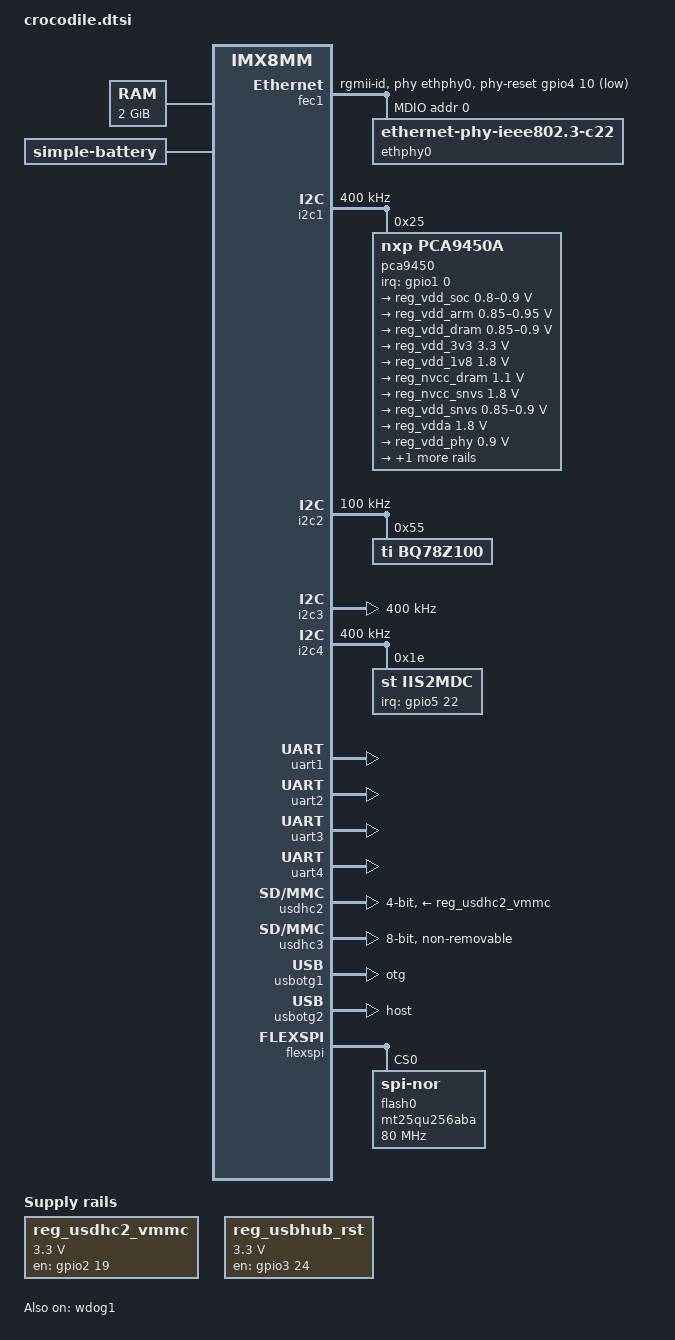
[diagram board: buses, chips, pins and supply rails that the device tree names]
// SPDX-License-Identifier: (GPL-2.0+ OR MIT)
/*
 * Copyright 2020 NXP
 * Copyright (C) 2021 Leica Geosystems AG
 */

/dts-v1/;

#include <dt-bindings/usb/pd.h>
#include "imx8mm.dtsi"

/ {
	compatible = "fsl,imx8mm-evk", "fsl,imx8mm";
	
	chosen {
		stdout-path = &uart3;
	};

	memory@40000000 {
		device_type = "memory";
		reg = <0x0 0x40000000 0 0x80000000>;
	};
	
	reg_usdhc2_vmmc: regulator-usdhc2 {
		compatible = "regulator-fixed";
		pinctrl-names = "default";
		pinctrl-0 = <&pinctrl_reg_usdhc2_vmmc>;
		regulator-name = "VSD_3V3";
		regulator-min-microvolt = <3300000>;
		regulator-max-microvolt = <3300000>;
		gpio = <&gpio2 19 GPIO_ACTIVE_HIGH>;
		enable-active-high;
	};

	reg_usbhub_rst: regulator-usbhub {
		compatible = "regulator-fixed";
		pinctrl-names = "default";
		pinctrl-0 = <&pinctrl_usbhub>;
		regulator-name = "USBHUB_RST_N";
		regulator-min-microvolt = <3300000>;
		regulator-max-microvolt = <3300000>;
		gpio = <&gpio3 24 GPIO_ACTIVE_HIGH>;
		regulator-always-on;
		enable-active-high;
	};

	bat: internal-battery {
		compatible = "simple-battery";
		energy-full-design-microwatt-hours = <24840000>;
		charge-full-design-microamp-hours = <14450000>;
		voltage-min-design-microvolt = <2500000>;
		voltage-max-design-microvolt = <4200000>;
		charge-term-current-microamp = <150000>;
		constant-charge-current-max-microamp = <3400000>;
		constant-charge-voltage-max-microvolt = <4200000>;
		factory-internal-resistance-micro-ohms = <35>;
	};
};

&A53_0 {
	cpu-supply = <&reg_vdd_arm>;
};

&A53_1 {
	cpu-supply = <&reg_vdd_arm>;
};

&A53_2 {
	cpu-supply = <&reg_vdd_arm>;
};

&A53_3 {
	cpu-supply = <&reg_vdd_arm>;
};

&ddrc {
	operating-points-v2 = <&ddrc_opp_table>;

	ddrc_opp_table: opp-table {
		compatible = "operating-points-v2";

		opp-25M {
			opp-hz = /bits/ 64 <25000000>;
		};

		opp-100M {
			opp-hz = /bits/ 64 <100000000>;
		};

		opp-750M {
			opp-hz = /bits/ 64 <750000000>;
		};
	};
};

&fec1 {
	pinctrl-names = "default";
	pinctrl-0 = <&pinctrl_fec1>;
	phy-mode = "rgmii-id";
	phy-handle = <&ethphy0>;
	phy-reset-gpios = <&gpio4 10 GPIO_ACTIVE_LOW>;
	phy-reset-duration = <10>;
	fsl,magic-packet;
	status = "okay";

	mdio {
		#address-cells = <1>;
		#size-cells = <0>;

		ethphy0: ethernet-phy@0 {
			compatible = "ethernet-phy-ieee802.3-c22";
			reg = <0>;
		};
	};
};

&i2c1 {
	clock-frequency = <400000>;
	pinctrl-names = "default";
	pinctrl-0 = <&pinctrl_i2c1>;
	status = "okay";

	pca9450: pmic@25 {
		compatible = "nxp,pca9450a";
		reg = <0x25>;
		pinctrl-names = "default";
		pinctrl-0 = <&pinctrl_pmic>;
		interrupt-parent = <&gpio1>;
		interrupts = <0 IRQ_TYPE_LEVEL_LOW>;

		regulators {
			reg_vdd_soc: BUCK1 {
				regulator-name = "buck1";
				regulator-min-microvolt = <800000>;
				regulator-max-microvolt = <900000>;
				regulator-boot-on;
				regulator-always-on;
				regulator-ramp-delay = <3125>;
			};

			reg_vdd_arm: BUCK2 {
				regulator-name = "buck2";
				regulator-min-microvolt = <850000>;
				regulator-max-microvolt = <950000>;
				regulator-boot-on;
				regulator-always-on;
				regulator-ramp-delay = <3125>;
				nxp,dvs-run-voltage = <950000>;
				nxp,dvs-standby-voltage = <850000>;
			};

			reg_vdd_dram: BUCK3 {
				regulator-name = "buck3";
				regulator-min-microvolt = <850000>;
				regulator-max-microvolt = <900000>;
				regulator-boot-on;
				regulator-always-on;
			};

			reg_vdd_3v3: BUCK4 {
				regulator-name = "buck4";
				regulator-min-microvolt = <3300000>;
				regulator-max-microvolt = <3300000>;
				regulator-boot-on;
				regulator-always-on;
			};

			reg_vdd_1v8: BUCK5 {
				regulator-name = "buck5";
				regulator-min-microvolt = <1800000>;
				regulator-max-microvolt = <1800000>;
				regulator-boot-on;
				regulator-always-on;
			};

			reg_nvcc_dram: BUCK6 {
				regulator-name = "buck6";
				regulator-min-microvolt = <1100000>;
				regulator-max-microvolt = <1100000>;
				regulator-boot-on;
				regulator-always-on;
			};

			reg_nvcc_snvs: LDO1 {
				regulator-name = "ldo1";
				regulator-min-microvolt = <1800000>;
				regulator-max-microvolt = <1800000>;
				regulator-boot-on;
				regulator-always-on;
			};

			reg_vdd_snvs: LDO2 {
				regulator-name = "ldo2";
				regulator-min-microvolt = <850000>;
				regulator-max-microvolt = <900000>;
				regulator-boot-on;
				regulator-always-on;
			};

			reg_vdda: LDO3 {
				regulator-name = "ldo3";
				regulator-min-microvolt = <1800000>;
				regulator-max-microvolt = <1800000>;
				regulator-boot-on;
				regulator-always-on;
			};

			reg_vdd_phy: LDO4 {
				regulator-name = "ldo4";
				regulator-min-microvolt = <900000>;
				regulator-max-microvolt = <900000>;
				regulator-boot-on;
				regulator-always-on;
			};

			reg_nvcc_sd: LDO5 {
				regulator-name = "ldo5";
				regulator-min-microvolt = <1800000>;
				regulator-max-microvolt = <3300000>;
			};
		};
	};
};

&i2c2 {
	clock-frequency = <100000>;
	pinctrl-names = "default";
	pinctrl-0 = <&pinctrl_i2c2>;
	status = "okay";

	bq78z100: fuel-gauge@55{
		compatible = "ti,bq78z100";
		reg = <0x55>;
		battery-name = "battery";
		monitored-battery = <&bat>;
	};
};

&i2c3 {
	clock-frequency = <400000>;
	pinctrl-names = "default";
	pinctrl-0 = <&pinctrl_i2c3>;
	status = "okay";
};

&i2c4 {
	clock-frequency = <400000>;
	pinctrl-names = "default";
	pinctrl-0 = <&pinctrl_i2c4>;
	status = "okay";

	iis2mdc@1e {
		compatible = "st,iis2mdc";
		reg = <0x1e>;
		interrupt-parent = <&gpio5>;
		interrupts = <22 IRQ_TYPE_EDGE_RISING>;
		st,drdy-int-pin = <1>;
	};
};

/* GNSS module */
&uart1 {
	pinctrl-names = "default";
	pinctrl-0 = <&pinctrl_uart1>;
	status = "okay";
};

/* WiFi/BLE module */
&uart2 {
	pinctrl-names = "default";
	pinctrl-0 = <&pinctrl_uart2>;
	uart-has-rtscts;
	status = "okay";
};

/* console */
&uart3 {
	pinctrl-names = "default";
	pinctrl-0 = <&pinctrl_uart3>;
	status = "okay";
};

/* LTE module */
&uart4 {
	pinctrl-names = "default";
	pinctrl-0 = <&pinctrl_uart4>;
	status = "okay";
};

&usdhc2 { /* SD card */
	assigned-clocks = <&clk IMX8MM_CLK_USDHC2>;
	assigned-clock-rates = <200000000>;
	pinctrl-names = "default", "state_100mhz", "state_200mhz";
	pinctrl-0 = <&pinctrl_usdhc2>, <&pinctrl_usdhc2_gpio>;
	pinctrl-1 = <&pinctrl_usdhc2_100mhz>, <&pinctrl_usdhc2_gpio>;
	pinctrl-2 = <&pinctrl_usdhc2_200mhz>, <&pinctrl_usdhc2_gpio>;
	bus-width = <4>;
	vmmc-supply = <&reg_usdhc2_vmmc>;
	status = "okay";
};

&usdhc3 { /* eMMC */
	assigned-clocks = <&clk IMX8MM_CLK_USDHC3_ROOT>;
	assigned-clock-rates = <400000000>;
	pinctrl-names = "default", "state_100mhz", "state_200mhz";
	pinctrl-0 = <&pinctrl_usdhc3>;
	pinctrl-1 = <&pinctrl_usdhc3_100mhz>;
	pinctrl-2 = <&pinctrl_usdhc3_200mhz>;
	bus-width = <8>;
	non-removable;
	status = "okay";
};

&usbotg1 {
	dr_mode = "otg";
	disable-over-current;
	picophy,pre-emp-curr-control = <3>;
	picophy,dc-vol-level-adjust = <7>;
	status = "okay";
};

&usbotg2 {
	dr_mode = "host";
	disable-over-current;
	status = "okay";
};

&flexspi {
	pinctrl-names = "default";
	pinctrl-0 = <&pinctrl_flexspi0>;
	status = "okay";

	flash0: mt25qu256aba@0 {
		reg = <0>;
		#address-cells = <1>;
		#size-cells = <1>;
		compatible = "jedec,spi-nor";
		spi-max-frequency = <80000000>;
		spi-tx-bus-width = <4>;
		spi-rx-bus-width = <4>;
	};
};

&wdog1 {
	pinctrl-names = "default";
	pinctrl-0 = <&pinctrl_wdog>;
	fsl,ext-reset-output;
	status = "okay";
};

&iomuxc {
	pinctrl_fec1: fec1grp {
		fsl,pins = <
			MX8MM_IOMUXC_ENET_MDC_ENET1_MDC			0x3
			MX8MM_IOMUXC_ENET_MDIO_ENET1_MDIO		0x3
			MX8MM_IOMUXC_ENET_TD3_ENET1_RGMII_TD3		0x1f
			MX8MM_IOMUXC_ENET_TD2_ENET1_RGMII_TD2		0x1f
			MX8MM_IOMUXC_ENET_TD1_ENET1_RGMII_TD1		0x1f
			MX8MM_IOMUXC_ENET_TD0_ENET1_RGMII_TD0		0x1f
			MX8MM_IOMUXC_ENET_RD3_ENET1_RGMII_RD3		0x91
			MX8MM_IOMUXC_ENET_RD2_ENET1_RGMII_RD2		0x91
			MX8MM_IOMUXC_ENET_RD1_ENET1_RGMII_RD1		0x91
			MX8MM_IOMUXC_ENET_RD0_ENET1_RGMII_RD0		0x91
			MX8MM_IOMUXC_ENET_TXC_ENET1_RGMII_TXC		0x1f
			MX8MM_IOMUXC_ENET_RXC_ENET1_RGMII_RXC		0x91
			MX8MM_IOMUXC_ENET_RX_CTL_ENET1_RGMII_RX_CTL	0x91
			MX8MM_IOMUXC_ENET_TX_CTL_ENET1_RGMII_TX_CTL	0x1f
			MX8MM_IOMUXC_SAI1_TXFS_GPIO4_IO10		0x36
		>;
	};
	
	pinctrl_i2c1: i2c1grp {
		fsl,pins = <
			MX8MM_IOMUXC_I2C1_SCL_I2C1_SCL		0x400001c3
			MX8MM_IOMUXC_I2C1_SDA_I2C1_SDA		0x400001c3
		>;
	};

	pinctrl_i2c2: i2c2grp {
		fsl,pins = <
			MX8MM_IOMUXC_I2C2_SCL_I2C2_SCL		0x400001c3
			MX8MM_IOMUXC_I2C2_SDA_I2C2_SDA		0x400001c3
		>;
	};

	pinctrl_i2c3: i2c3grp {
		fsl,pins = <
			MX8MM_IOMUXC_I2C3_SCL_I2C3_SCL		0x400001c3
			MX8MM_IOMUXC_I2C3_SDA_I2C3_SDA		0x400001c3
		>;
	};
	
	pinctrl_i2c4: i2c4grp {
		fsl,pins = <
			MX8MM_IOMUXC_I2C4_SCL_I2C4_SCL		0x400001c3
			MX8MM_IOMUXC_I2C4_SDA_I2C4_SDA		0x400001c3
		>;
	};
	
	pinctrl_pmic: pmicirqgrp {
		fsl,pins = <
			MX8MM_IOMUXC_GPIO1_IO03_GPIO1_IO3	0x141
		>;
	};
	
	pinctrl_reg_usdhc2_vmmc: regusdhc2vmmcgrp {
		fsl,pins = <
			MX8MM_IOMUXC_SD2_RESET_B_GPIO2_IO19	0x41
		>;
	};
	
	pinctrl_usdhc2_gpio: usdhc2grpgpiogrp {
		fsl,pins = <
			MX8MM_IOMUXC_SD2_CD_B_USDHC2_CD_B	0x41
		>;
	};

	pinctrl_usdhc2: usdhc2grp {
		fsl,pins = <
			MX8MM_IOMUXC_SD2_CLK_USDHC2_CLK		0x190
			MX8MM_IOMUXC_SD2_CMD_USDHC2_CMD		0x1d0
			MX8MM_IOMUXC_SD2_DATA0_USDHC2_DATA0	0x1d0
			MX8MM_IOMUXC_SD2_DATA1_USDHC2_DATA1	0x1d0
			MX8MM_IOMUXC_SD2_DATA2_USDHC2_DATA2	0x1d0
			MX8MM_IOMUXC_SD2_DATA3_USDHC2_DATA3	0x1d0
			MX8MM_IOMUXC_GPIO1_IO04_USDHC2_VSELECT	0x1d0
		>;
	};

	pinctrl_usdhc2_100mhz: usdhc2-100mhzgrp {
		fsl,pins = <
			MX8MM_IOMUXC_SD2_CLK_USDHC2_CLK		0x194
			MX8MM_IOMUXC_SD2_CMD_USDHC2_CMD		0x1d4
			MX8MM_IOMUXC_SD2_DATA0_USDHC2_DATA0	0x1d4
			MX8MM_IOMUXC_SD2_DATA1_USDHC2_DATA1	0x1d4
			MX8MM_IOMUXC_SD2_DATA2_USDHC2_DATA2	0x1d4
			MX8MM_IOMUXC_SD2_DATA3_USDHC2_DATA3	0x1d4
			MX8MM_IOMUXC_GPIO1_IO04_USDHC2_VSELECT	0x1d0
		>;
	};

	pinctrl_usdhc2_200mhz: usdhc2-200mhzgrp {
		fsl,pins = <
			MX8MM_IOMUXC_SD2_CLK_USDHC2_CLK		0x196
			MX8MM_IOMUXC_SD2_CMD_USDHC2_CMD		0x1d6
			MX8MM_IOMUXC_SD2_DATA0_USDHC2_DATA0	0x1d6
			MX8MM_IOMUXC_SD2_DATA1_USDHC2_DATA1	0x1d6
			MX8MM_IOMUXC_SD2_DATA2_USDHC2_DATA2	0x1d6
			MX8MM_IOMUXC_SD2_DATA3_USDHC2_DATA3	0x1d6
			MX8MM_IOMUXC_GPIO1_IO04_USDHC2_VSELECT	0x1d0
		>;
	};

	pinctrl_usdhc3: usdhc3grp {
		fsl,pins = <
			MX8MM_IOMUXC_NAND_WE_B_USDHC3_CLK	0x190
			MX8MM_IOMUXC_NAND_WP_B_USDHC3_CMD	0x1d0
			MX8MM_IOMUXC_NAND_DATA04_USDHC3_DATA0	0x1d0
			MX8MM_IOMUXC_NAND_DATA05_USDHC3_DATA1	0x1d0
			MX8MM_IOMUXC_NAND_DATA06_USDHC3_DATA2	0x1d0
			MX8MM_IOMUXC_NAND_DATA06_USDHC3_DATA2	0x1d0
			MX8MM_IOMUXC_NAND_DATA07_USDHC3_DATA3	0x1d0
			MX8MM_IOMUXC_NAND_RE_B_USDHC3_DATA4	0x1d0
			MX8MM_IOMUXC_NAND_CE2_B_USDHC3_DATA5	0x1d0
			MX8MM_IOMUXC_NAND_CE3_B_USDHC3_DATA6	0x1d0
			MX8MM_IOMUXC_NAND_CLE_USDHC3_DATA7	0x1d0
			MX8MM_IOMUXC_NAND_CE1_B_USDHC3_STROBE	0x190
		>;
	};

	pinctrl_usdhc3_100mhz: usdhc3-100mhzgrp {
		fsl,pins = <
			MX8MM_IOMUXC_NAND_WE_B_USDHC3_CLK	0x194
			MX8MM_IOMUXC_NAND_WP_B_USDHC3_CMD	0x1d4
			MX8MM_IOMUXC_NAND_DATA04_USDHC3_DATA0	0x1d4
			MX8MM_IOMUXC_NAND_DATA05_USDHC3_DATA1	0x1d4
			MX8MM_IOMUXC_NAND_DATA06_USDHC3_DATA2	0x1d4
			MX8MM_IOMUXC_NAND_DATA07_USDHC3_DATA3	0x1d4
			MX8MM_IOMUXC_NAND_RE_B_USDHC3_DATA4	0x1d4
			MX8MM_IOMUXC_NAND_CE2_B_USDHC3_DATA5	0x1d4
			MX8MM_IOMUXC_NAND_CE3_B_USDHC3_DATA6	0x1d4
			MX8MM_IOMUXC_NAND_CLE_USDHC3_DATA7	0x1d4
			MX8MM_IOMUXC_NAND_CE1_B_USDHC3_STROBE	0x194
		>;
	};

	pinctrl_usdhc3_200mhz: usdhc3-200mhzgrp {
		fsl,pins = <
			MX8MM_IOMUXC_NAND_WE_B_USDHC3_CLK	0x196
			MX8MM_IOMUXC_NAND_WP_B_USDHC3_CMD	0x1d6
			MX8MM_IOMUXC_NAND_DATA04_USDHC3_DATA0	0x1d6
			MX8MM_IOMUXC_NAND_DATA05_USDHC3_DATA1	0x1d6
			MX8MM_IOMUXC_NAND_DATA06_USDHC3_DATA2	0x1d6
			MX8MM_IOMUXC_NAND_DATA07_USDHC3_DATA3	0x1d6
			MX8MM_IOMUXC_NAND_RE_B_USDHC3_DATA4	0x1d6
			MX8MM_IOMUXC_NAND_CE2_B_USDHC3_DATA5	0x1d6
			MX8MM_IOMUXC_NAND_CE3_B_USDHC3_DATA6	0x1d6
			MX8MM_IOMUXC_NAND_CLE_USDHC3_DATA7	0x1d6
			MX8MM_IOMUXC_NAND_CE1_B_USDHC3_STROBE	0x196
		>;
	};

	pinctrl_uart1: uart1grp {
		fsl,pins = <
			MX8MM_IOMUXC_SAI2_RXFS_UART1_DTE_RX	0x20
			MX8MM_IOMUXC_SAI2_RXC_UART1_DTE_TX	0x20
		>;
	};

	pinctrl_uart2: uart2grp {
		fsl,pins = <
			MX8MM_IOMUXC_SAI3_TXFS_UART2_DCE_RX	0x140
			MX8MM_IOMUXC_SAI3_TXC_UART2_DCE_TX	0x140
			MX8MM_IOMUXC_SAI3_RXC_UART2_DCE_CTS_B	0x140
			MX8MM_IOMUXC_SAI3_RXD_UART2_DCE_RTS_B	0x140
		>;
	};

	pinctrl_uart3: uart3grp {
		fsl,pins = <
			MX8MM_IOMUXC_UART3_RXD_UART3_DCE_RX	0x000
			MX8MM_IOMUXC_UART3_TXD_UART3_DCE_TX	0x140
		>;
	};
	
	pinctrl_uart4: uart4grp {
		fsl,pins = <
			MX8MM_IOMUXC_UART4_RXD_UART4_DCE_RX	0x140
			MX8MM_IOMUXC_UART4_TXD_UART4_DCE_TX	0x140
		>;
	};

	pinctrl_usbhub: regulator-usbhub {
		fsl,pins = <
			MX8MM_IOMUXC_SAI5_RXD3_GPIO3_IO24	0x36
		>;
	};

	pinctrl_flexspi0: flexspi0grp {
		fsl,pins = <
			MX8MM_IOMUXC_NAND_ALE_QSPI_A_SCLK	0x1c2
			MX8MM_IOMUXC_NAND_CE0_B_QSPI_A_SS0_B	0x82
			MX8MM_IOMUXC_NAND_DATA00_QSPI_A_DATA0	0x82
			MX8MM_IOMUXC_NAND_DATA01_QSPI_A_DATA1	0x82
			MX8MM_IOMUXC_NAND_DATA02_QSPI_A_DATA2	0x82
			MX8MM_IOMUXC_NAND_DATA03_QSPI_A_DATA3	0x82
		>;
	};

	pinctrl_wdog: wdoggrp {
		fsl,pins = <
			MX8MM_IOMUXC_GPIO1_IO02_WDOG1_WDOG_B	0x166
		>;
	};
};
